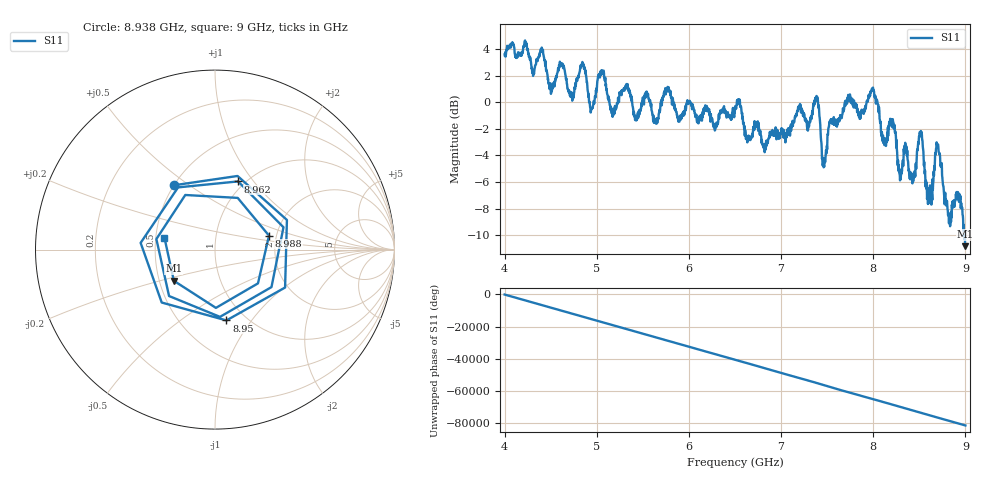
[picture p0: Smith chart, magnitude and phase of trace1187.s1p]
! Created with skrf 1.8.0 (http://scikit-rf.org).
# Hz S RI R 50.0
!freq ReS11 ImS11
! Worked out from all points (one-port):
!   1601 points, 4 GHz to 9 GHz, reference 50 ohm
!   lowest |S11| = -10.8 dB at 8.997 GHz (marker M1), VSWR 1.81, Z = 29.8 - j11.3 ohm
!   |S11| at or under -10 dB: 8.98384 GHz to 8.992761 GHz (8.921 MHz wide, 0.0992 % of centre); 8.994657 GHz to end of sweep
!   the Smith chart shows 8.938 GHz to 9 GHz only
!   S11 on the Smith chart (normalised r, x): 8.938 GHz: 0.50, +0.44; 8.95 GHz: 0.81, -0.76; 8.962 GHz: 0.93, +0.84; 8.988 GHz: 1.83, +0.31; 9 GHz: 0.56, +0.08
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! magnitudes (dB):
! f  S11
! 4 GHz  3.6
! 4.625 GHz  2.8
! 4.731 GHz  0.6
! 4.853 GHz  2.9
! 4.941 GHz  -0.5
! 5.05 GHz  2.3
! 5.166 GHz  -0.9
! 5.25 GHz  0.6
! 5.875 GHz  -1.2
! 6.5 GHz  -0.5
! 6.819 GHz  -3.6
! 7.125 GHz  -1.4
! 7.384 GHz  0.5
! 7.469 GHz  -4.8
! 7.75 GHz  0.5
! 7.997 GHz  1.1
! 8.112 GHz  -2.9
! 8.375 GHz  -4.4
! 8.519 GHz  -2.5
! 8.616 GHz  -6.3
! 8.7 GHz  -3.3
! 8.819 GHz  -8.4
! 8.938 GHz  -7.4
! 8.95 GHz  -8.0
! 8.962 GHz  -7.9
! 8.988 GHz  -10.2
! 8.997 GHz  -10.8
! 9 GHz  -10.8
